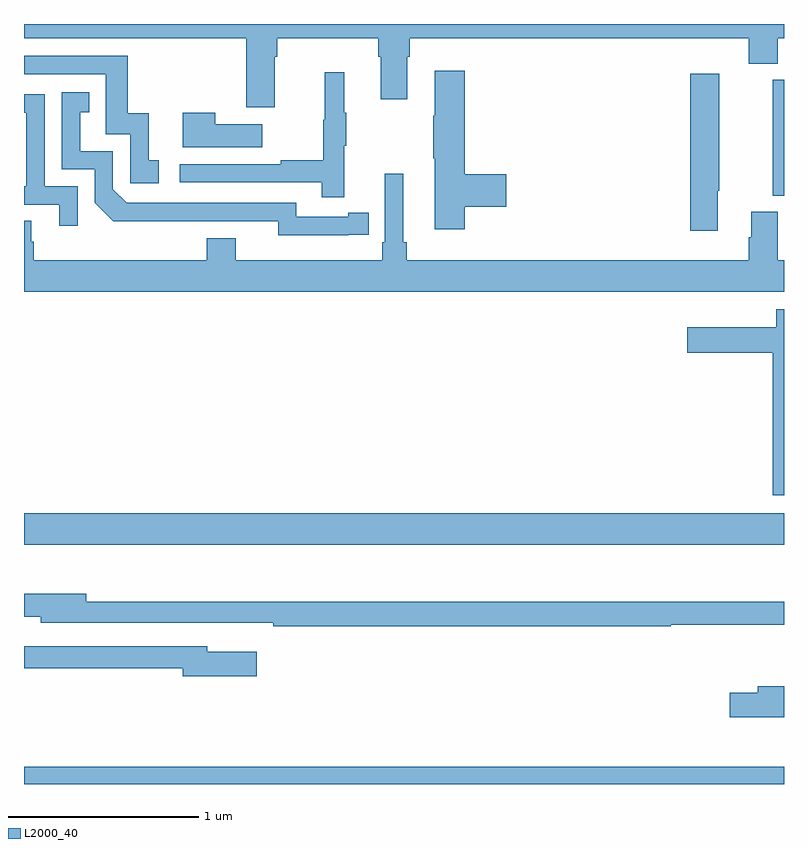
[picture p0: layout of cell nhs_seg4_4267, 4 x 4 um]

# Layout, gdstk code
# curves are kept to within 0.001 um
import gdstk
lib = gdstk.Library(unit=1e-6, precision=1e-09)
def R(c, l, rs):  # rectangles x0, y0, x1, y1
    for r in rs: c.add(gdstk.rectangle(r[:2], r[2:], *l))
def P(c, l, *ps):  # polygons
    for p in ps: c.add(gdstk.Polygon(p, *l))
L2000_40 = (2000, 40)

nhs_seg4_4267 = lib.new_cell('nhs_seg4_4267')
R(nhs_seg4_4267, L2000_40, [(339,788.9,343,788.992), (339,790.16,343,790.324), (342.942,791.997,343,792.606)])
P(nhs_seg4_4267, L2000_40, [(340.321,792.728),(340.334,792.728),(340.334,792.824),(340.865,792.824),(340.865,792.728),(340.877,792.728),(340.877,792.504),(341.017,792.504),(341.017,792.728),(341.03,792.728),(341.03,792.824),(342.815,792.824),(342.815,792.691),(342.967,792.691),(342.967,792.824),(343,792.824),(343,792.9),(339,792.9),(339,792.824),(340.169,792.824),(340.169,792.462),(340.321,792.462)],
  [(339.709,792.183),(339.656,792.183),(339.656,792.43),(339.545,792.43),(339.545,792.732),(339,792.732),(339,792.636),(339.429,792.636),(339.429,792.321),(339.558,792.321),(339.558,792.063),(339.709,792.063)],
  [(341.321,791.939),(341.539,791.939),(341.539,792.11),(341.321,792.11),(341.321,792.655),(341.162,792.655),(341.162,792.416),(341.155,792.416),(341.155,792.193),(341.162,792.193),(341.162,791.82),(341.321,791.82)],
  [(340.685,792.259),(340.696,792.259),(340.696,792.433),(340.685,792.433),(340.685,792.646),(340.582,792.646),(340.582,792.396),(340.575,792.396),(340.575,792.182),(340.351,792.182),(340.351,792.162),(339.819,792.162),(339.819,792.066),(340.567,792.066),(340.567,791.988),(340.685,791.988)],
  [(342.652,792.023),(342.66,792.023),(342.66,792.637),(342.506,792.637),(342.506,791.811),(342.652,791.811)],
  [(340.706,791.79),(340.814,791.79),(340.814,791.906),(340.706,791.906),(340.706,791.886),(340.434,791.886),(340.434,791.958),(339.54,791.958),(339.468,792.03),(339.468,792.231),(339.295,792.231),(339.295,792.435),(339.344,792.435),(339.344,792.541),(339.198,792.541),(339.198,792.135),(339.372,792.135),(339.372,791.958),(339.47,791.861),(340.338,791.862),(340.338,791.789)],
  [(339.282,792.045),(339.108,792.045),(339.108,792.531),(339,792.531),(339,792.434),(339.012,792.434),(339.012,792.045),(339,792.045),(339,791.949),(339.185,791.949),(339.185,791.838),(339.282,791.838)],
  [(340.255,792.373),(340.007,792.373),(340.007,792.433),(339.836,792.433),(339.836,792.251),(340.255,792.251)],
  [(343,791.656),(342.967,791.656),(342.967,791.912),(342.827,791.912),(342.827,791.778),(342.815,791.778),(342.815,791.656),(341.015,791.656),(341.015,791.752),(340.996,791.752),(340.996,792.112),(340.899,792.112),(340.899,791.752),(340.886,791.752),(340.886,791.656),(340.114,791.656),(340.114,791.773),(339.962,791.773),(339.962,791.656),(339.05,791.656),(339.05,791.754),(339.037,791.754),(339.037,791.864),(339,791.864),(339,791.492),(343,791.492)],
  [(343,791.398),(342.959,791.398),(342.959,791.305),(342.492,791.305),(342.492,791.171),(342.94,791.171),(342.94,790.419),(343,790.419)],
  [(342.404,789.738),(343,789.738),(343,789.859),(339.328,789.859),(339.328,789.901),(339,789.901),(339,789.779),(339.089,789.779),(339.089,789.75),(340.06,789.75),(340.06,789.749),(340.312,789.749),(340.312,789.73),(342.404,789.73)],
  [(340.225,789.595),(339.964,789.595),(339.964,789.624),(339,789.624),(339,789.508),(339.836,789.508),(339.836,789.466),(340.225,789.466)],
  [(343,789.415),(342.863,789.415),(342.863,789.381),(342.714,789.381),(342.714,789.251),(343,789.251)])

lib.write_gds('nhs_seg4_4267.gds')
